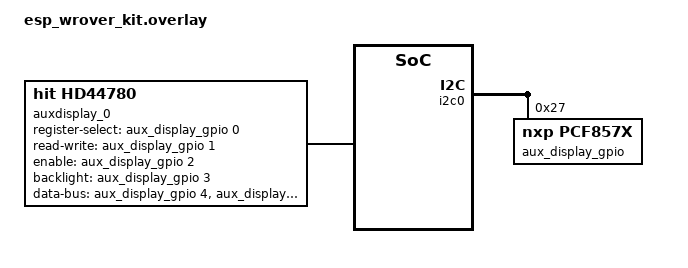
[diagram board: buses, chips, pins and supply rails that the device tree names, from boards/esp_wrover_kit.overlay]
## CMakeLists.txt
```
# SPDX-License-Identifier: Apache-2.0

cmake_minimum_required(VERSION 3.20.0)

find_package(Zephyr HINTS $ENV{ZEPHYR_BASE})
project(auxdisplay)

target_sources(app PRIVATE src/main.c)
```

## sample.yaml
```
sample:
  description: Demonstration of auxdisplay driver
  name: Auxiliary display sample
tests:
  sample.drivers.auxdisplay:
    tags: auxdisplay
    harness_config:
      fixture: fixture_auxdisplay
    platform_allow: nucleo_f746zg
    integration_platforms:
      - nucleo_f746zg
```

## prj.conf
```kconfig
CONFIG_AUXDISPLAY=y
CONFIG_LOG=y
```

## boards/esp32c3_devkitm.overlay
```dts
/*
 * Copyright (c) 2023 Chen Xingyu <hi@xingrz.me>
 * SPDX-License-Identifier: Apache-2.0
 */

#include <freq.h>

&spi2 {
	cs-gpios = <&gpio0 5 GPIO_ACTIVE_LOW>;

	auxdisplay_0: auxdisplay@0 {
		reg = <0>;
		spi-max-frequency = <DT_FREQ_M(1)>;
		compatible = "ptc,pt6314";
		status = "okay";
		columns = <20>;
		rows = <2>;
	};
};
```

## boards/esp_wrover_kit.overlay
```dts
/*
 * Character HD44780 module driven by the PCF8574 gpio.
 */

&i2c0 {
	aux_display_gpio: pcf8574@27 {
		compatible = "nxp,pcf857x";
		reg = <0x27>;
		gpio-controller;
		ngpios = <8>;
		#gpio-cells = <2>;
	};
};

/ {
	auxdisplay_0: hd44780 {
		compatible = "hit,hd44780";
		columns = <16>;
		rows = <2>;
		mode = <4>;
		boot-delay-ms = <100>;
		enable-line-rise-delay-us = <1000>;
		enable-line-fall-delay-us = <500>;
		register-select-gpios = <&aux_display_gpio 0 (GPIO_ACTIVE_HIGH)>;
		read-write-gpios    = <&aux_display_gpio 1 (GPIO_ACTIVE_HIGH)>;
		enable-gpios        = <&aux_display_gpio 2 (GPIO_ACTIVE_HIGH)>;
		backlight-gpios     = <&aux_display_gpio 3 (GPIO_ACTIVE_HIGH)>;
		data-bus-gpios      = <0>, <0>, <0>, <0>,
				<&aux_display_gpio 4 (GPIO_ACTIVE_HIGH)>,
				<&aux_display_gpio 5 (GPIO_ACTIVE_HIGH)>,
				<&aux_display_gpio 6 (GPIO_ACTIVE_HIGH)>,
				<&aux_display_gpio 7 (GPIO_ACTIVE_HIGH)>;
	};
};
```

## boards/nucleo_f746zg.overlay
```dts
/*
 * Copyright (c) 2022-2023 Jamie McCrae
 *
 * SPDX-License-Identifier: Apache-2.0
 */

/ {
	auxdisplay_0: auxdisplay {
		compatible = "hit,hd44780";
		status = "okay";
		columns = <20>;
		rows = <4>;
		mode = <4>;
		register-select-gpios = <&gpiob 8 (GPIO_ACTIVE_HIGH)>;
		enable-gpios = <&gpiob 9 (GPIO_ACTIVE_HIGH)>;
		data-bus-gpios = <0>, <0>, <0>, <0>,
				 <&gpioa 5 (GPIO_ACTIVE_HIGH)>,
				 <&gpioa 6 (GPIO_ACTIVE_HIGH)>,
				 <&gpioa 7 (GPIO_ACTIVE_HIGH)>,
				 <&gpiod 14 (GPIO_ACTIVE_HIGH)>;
	};
};

/delete-node/ &spi1;
```

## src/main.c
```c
/*
 * Copyright (c) 2023 Jamie McCrae
 *
 * SPDX-License-Identifier: Apache-2.0
 */

#include <string.h>
#include <zephyr/kernel.h>
#include <zephyr/device.h>
#include <zephyr/drivers/auxdisplay.h>
#include <zephyr/logging/log.h>

LOG_MODULE_REGISTER(auxdisplay_sample, LOG_LEVEL_DBG);

int main(void)
{
	int rc;
	const struct device *const dev = DEVICE_DT_GET(DT_NODELABEL(auxdisplay_0));
	uint8_t data[64];

	if (!device_is_ready(dev)) {
		LOG_ERR("Auxdisplay device is not ready.");
		return 0;
	}

	rc = auxdisplay_cursor_set_enabled(dev, true);

	if (rc != 0) {
		LOG_ERR("Failed to enable cursor: %d", rc);
	}

	snprintk(data, sizeof(data), "Hello world from %s", CONFIG_BOARD);
	rc = auxdisplay_write(dev, data, strlen(data));

	if (rc != 0) {
		LOG_ERR("Failed to write data: %d", rc);
	}
	return 0;
}
```
